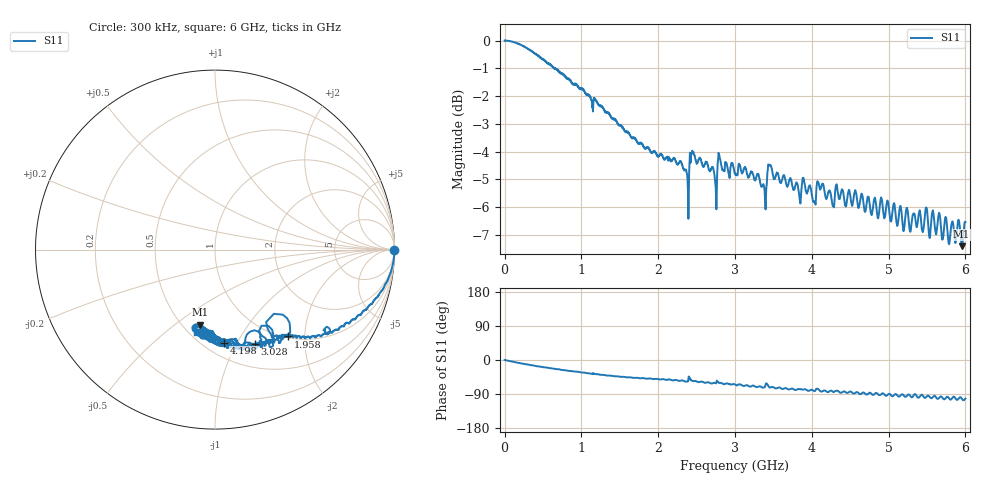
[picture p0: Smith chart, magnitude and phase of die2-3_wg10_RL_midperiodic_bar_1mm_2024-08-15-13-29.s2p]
!Keysight Technologies,P9374A,MY57304198,A.17.20.09
!Date: Thursday, August 15, 2024 13:29:53
!Correction: S11(C  1-Port  )
!S21(C  1-Port  )
!S12(Off)
!S22(Off)
!S2P File: Measurements: S11, S21, S12, S22:
# Hz S  dB  R 50
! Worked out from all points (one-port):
!   6000 points, 300 kHz to 6 GHz, reference 50 ohm
!   lowest |S11| = -7.4 dB at 5.951 GHz (marker M1), VSWR 2.49, Z = 30.4 - j31.1 ohm
!   |S11| at or under -10 dB: nowhere
!   S11 on the Smith chart (normalised r, x): 300 kHz: open; 1.958 GHz: 1.02, -1.65; 3.028 GHz: 0.76, -1.20; 4.198 GHz: 0.62, -0.89; 6 GHz: 0.55, -0.65
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300000  0.00 -0.0  -200.00 45.0  -200.00 45.0  -200.00 45.0
4.193489e8  -0.50 -16.3  -200.00 45.0  -200.00 45.0  -200.00 45.0
1.000417e9  -1.75 -33.0  -200.00 45.0  -200.00 45.0  -200.00 45.0
1.504475e9  -3.04 -44.5  -200.00 45.0  -200.00 45.0  -200.00 45.0
1.957528e9  -3.98 -49.9  -200.00 45.0  -200.00 45.0  -200.00 45.0
2.000533e9  -4.19 -50.6  -200.00 45.0  -200.00 45.0  -200.00 45.0
2.363576e9  -4.65 -57.1  -200.00 45.0  -200.00 45.0  -200.00 45.0
2.39658e9  -5.86 -44.6  -200.00 45.0  -200.00 45.0  -200.00 45.0
2.458587e9  -4.02 -55.6  -200.00 45.0  -200.00 45.0  -200.00 45.0
2.747621e9  -5.23 -61.4  -200.00 45.0  -200.00 45.0  -200.00 45.0
2.804627e9  -4.26 -60.4  -200.00 45.0  -200.00 45.0  -200.00 45.0
3.00065e9  -4.79 -64.6  -200.00 45.0  -200.00 45.0  -200.00 45.0
3.027653e9  -4.84 -67.0  -200.00 45.0  -200.00 45.0  -200.00 45.0
3.364693e9  -5.19 -73.2  -200.00 45.0  -200.00 45.0  -200.00 45.0
3.4257e9  -4.68 -65.6  -200.00 45.0  -200.00 45.0  -200.00 45.0
3.529712e9  -4.87 -75.0  -200.00 45.0  -200.00 45.0  -200.00 45.0
4.000767e9  -5.56 -78.6  -200.00 45.0  -200.00 45.0  -200.00 45.0
4.077776e9  -5.09 -76.1  -200.00 45.0  -200.00 45.0  -200.00 45.0
4.19779e9  -5.64 -84.2  -200.00 45.0  -200.00 45.0  -200.00 45.0
5.000883e9  -5.95 -89.5  -200.00 45.0  -200.00 45.0  -200.00 45.0
5.950994e9  -7.40 -101.1  -200.00 45.0  -200.00 45.0  -200.00 45.0
6e9  -6.53 -101.9  -200.00 45.0  -200.00 45.0  -200.00 45.0
